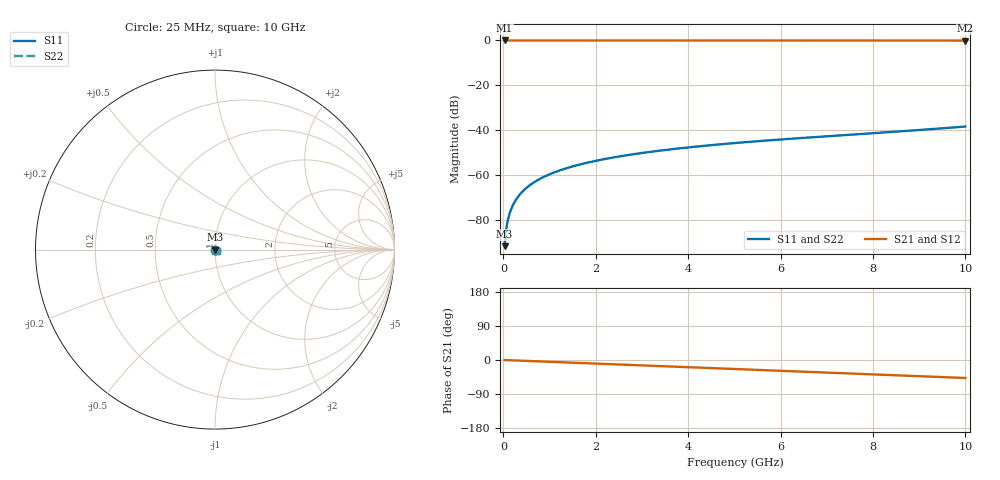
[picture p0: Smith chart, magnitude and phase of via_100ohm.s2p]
! Via L1 to L16 (100 Ω)
! Trace 3D FDTD via solver; reference planes at the via centre
! Differential (mixed-mode Sdd) as a 2-port
# GHz S MA R 100
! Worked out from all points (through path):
!   400 points, 25 MHz to 10 GHz, reference 100 ohm
!   highest |S21| = 0.00 dB at 25 MHz (marker M1); lowest = 0.0 dB at 10 GHz (marker M2)
!   group delay of S21, straight-line fit = 13.2 ps
!   lowest |S11| = -91.7 dB at 25 MHz (marker M3), VSWR 1.00, Z = 100 + j0.00521 ohm
!   |S11| at or under -10 dB: start of sweep to end of sweep
!   |S22| runs from -91.7 to -38.4 dB; largest |S21 - S12| = 0
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0.025  2.608e-05 91.5  0.9999 -0.1  0.9999 -0.1  2.608e-05 91.5
0.075  7.82e-05 89.8  0.9999 -0.4  0.9999 -0.4  7.82e-05 89.8
0.1  0.0001043 89.3  0.9999 -0.5  0.9999 -0.5  0.0001043 89.3
0.125  0.0001303 89.0  0.9998 -0.6  0.9998 -0.6  0.0001303 89.0
0.175  0.0001825 88.3  0.9998 -0.8  0.9998 -0.8  0.0001825 88.3
0.225  0.0002346 87.7  0.9998 -1.1  0.9998 -1.1  0.0002346 87.7
0.3  0.0003128 86.8  0.9997 -1.4  0.9997 -1.4  0.0003128 86.8
0.35  0.000365 86.2  0.9997 -1.7  0.9997 -1.7  0.000365 86.2
0.425  0.0004432 85.3  0.9997 -2.0  0.9997 -2.0  0.0004432 85.3
0.575  0.0005996 83.6  0.9996 -2.7  0.9996 -2.7  0.0005996 83.6
0.8  0.0008343 81.1  0.9995 -3.8  0.9995 -3.8  0.0008343 81.1
1.05  0.001095 78.2  0.9993 -5.0  0.9993 -5.0  0.001095 78.2
1.35  0.001408 74.8  0.9992 -6.4  0.9992 -6.4  0.001408 74.8
1.7  0.001772 70.8  0.999 -8.0  0.999 -8.0  0.001772 70.8
2.05  0.002134 66.7  0.9989 -9.7  0.9989 -9.7  0.002134 66.7
2.425  0.00252 62.4  0.9987 -11.5  0.9987 -11.5  0.00252 62.4
3.35  0.003469 51.5  0.9983 -15.9  0.9983 -15.9  0.003469 51.5
4.125  0.004266 42.1  0.998 -19.5  0.998 -19.5  0.004266 42.1
5.025  0.005197 30.6  0.9976 -23.8  0.9976 -23.8  0.005197 30.6
6.675  0.006953 7.4  0.9971 -31.7  0.9971 -31.7  0.006953 7.4
8.35  0.009069 -18.8  0.9962 -39.6  0.9962 -39.6  0.009069 -18.8
10  0.01208 -45.9  0.9944 -47.5  0.9944 -47.5  0.01208 -45.9
